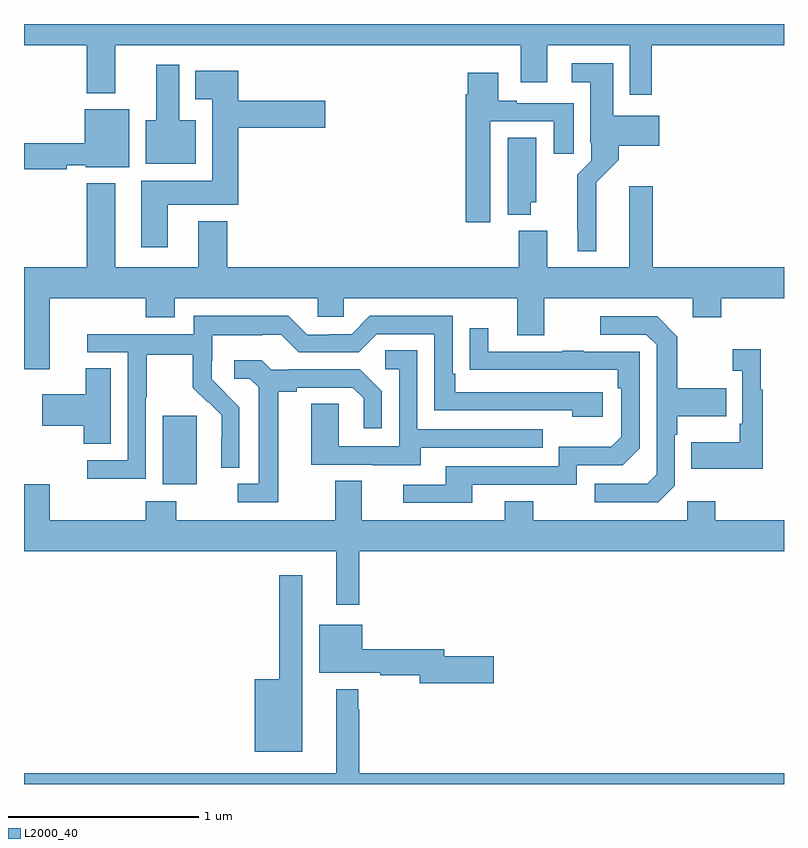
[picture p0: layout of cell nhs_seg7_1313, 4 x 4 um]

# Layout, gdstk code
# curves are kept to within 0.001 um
import gdstk
lib = gdstk.Library(unit=1e-6, precision=1e-09)
def R(c, l, rs):  # rectangles x0, y0, x1, y1
    for r in rs: c.add(gdstk.rectangle(r[:2], r[2:], *l))
def P(c, l, *ps):  # polygons
    for p in ps: c.add(gdstk.Polygon(p, *l))
L2000_40 = (2000, 40)

nhs_seg7_1313 = lib.new_cell('nhs_seg7_1313')
R(nhs_seg7_1313, L2000_40, [(201.731,1059.578,201.91,1059.939)])
P(nhs_seg7_1313, L2000_40, [(204.305,1061.888),(205,1061.888),(205,1062),(201,1062),(201,1061.888),(201.329,1061.888),(201.329,1061.636),(201.481,1061.636),(201.481,1061.888),(203.615,1061.888),(203.615,1061.694),(203.755,1061.694),(203.755,1061.888),(204.189,1061.888),(204.189,1061.628),(204.305,1061.628)],
  [(204.013,1061.168),(204.131,1061.286),(204.131,1061.36),(204.343,1061.36),(204.343,1061.518),(204.1,1061.518),(204.1,1061.794),(203.883,1061.794),(203.883,1061.693),(203.981,1061.693),(203.981,1061.374),(203.985,1061.374),(203.985,1061.28),(203.911,1061.206),(203.911,1060.915),(203.915,1060.915),(203.915,1060.805),(204.013,1060.805)],
  [(201.904,1061.494),(201.817,1061.494),(201.817,1061.785),(201.695,1061.785),(201.695,1061.494),(201.641,1061.494),(201.641,1061.264),(201.904,1061.264)],
  [(201.757,1061.048),(202.127,1061.048),(202.127,1061.453),(202.585,1061.453),(202.585,1061.595),(202.127,1061.595),(202.127,1061.755),(201.902,1061.755),(201.902,1061.603),(201.992,1061.603),(201.992,1061.176),(201.617,1061.176),(201.617,1060.824),(201.757,1060.824)],
  [(203.455,1061.487),(203.789,1061.487),(203.789,1061.316),(203.893,1061.316),(203.893,1061.583),(203.593,1061.583),(203.593,1061.596),(203.497,1061.596),(203.497,1061.743),(203.336,1061.743),(203.336,1061.63),(203.324,1061.63),(203.324,1060.956),(203.455,1060.956)],
  [(201.224,1061.256),(201.324,1061.256),(201.324,1061.246),(201.553,1061.246),(201.553,1061.551),(201.32,1061.551),(201.32,1061.372),(201,1061.372),(201,1061.236),(201.224,1061.236)],
  [(203.668,1061.061),(203.695,1061.061),(203.695,1061.402),(203.546,1061.402),(203.546,1060.997),(203.668,1060.997)],
  [(201.136,1060.556),(201.641,1060.556),(201.641,1060.457),(201.793,1060.457),(201.793,1060.556),(202.545,1060.556),(202.545,1060.458),(202.683,1060.458),(202.683,1060.556),(203.597,1060.556),(203.597,1060.362),(203.737,1060.362),(203.737,1060.556),(204.521,1060.556),(204.521,1060.457),(204.669,1060.457),(204.669,1060.556),(205,1060.556),(205,1060.72),(204.308,1060.72),(204.308,1061.146),(204.185,1061.146),(204.185,1060.72),(203.755,1060.72),(203.755,1060.912),(203.603,1060.912),(203.603,1060.72),(202.07,1060.72),(202.07,1060.963),(201.917,1060.963),(201.917,1060.72),(201.481,1060.72),(201.481,1061.161),(201.329,1061.161),(201.329,1060.72),(201,1060.72),(201,1060.182),(201.136,1060.182)],
  [(201.642,1060.036),(201.645,1060.036),(201.645,1060.26),(201.889,1060.26),(201.889,1060.085),(201.966,1060.008),(201.969,1060.011),(202.04,1059.941),(202.04,1059.818),(202.038,1059.818),(202.038,1059.664),(202.134,1059.664),(202.134,1059.982),(201.988,1060.13),(201.988,1060.227),(201.99,1060.227),(201.99,1060.361),(202.253,1060.361),(202.253,1060.365),(202.353,1060.365),(202.446,1060.272),(202.761,1060.272),(202.857,1060.368),(203.16,1060.368),(203.16,1059.966),(203.885,1059.966),(203.885,1059.932),(204.046,1059.932),(204.046,1060.062),(203.269,1060.062),(203.269,1060.159),(203.256,1060.159),(203.256,1060.464),(202.821,1060.464),(202.725,1060.368),(202.607,1060.368),(202.607,1060.365),(202.491,1060.365),(202.391,1060.465),(201.894,1060.465),(201.894,1060.368),(201.333,1060.368),(201.333,1060.272),(201.546,1060.272),(201.546,1059.705),(201.333,1059.705),(201.333,1059.607),(201.642,1059.607)],
  [(204.426,1059.57),(204.426,1059.839),(204.439,1059.839),(204.439,1059.935),(204.695,1059.935),(204.695,1060.083),(204.439,1060.083),(204.439,1060.355),(204.333,1060.461),(204.033,1060.461),(204.033,1060.365),(204.276,1060.365),(204.33,1060.311),(204.33,1059.63),(204.279,1059.579),(204.003,1059.579),(204.003,1059.483),(204.339,1059.483)],
  [(203.359,1059.576),(203.91,1059.576),(203.91,1059.678),(204.15,1059.678),(204.24,1059.768),(204.24,1060.275),(203.945,1060.275),(203.945,1060.28),(203.833,1060.28),(203.833,1060.275),(203.443,1060.275),(203.443,1060.399),(203.347,1060.399),(203.347,1060.18),(204.124,1060.179),(204.124,1060.082),(204.144,1060.082),(204.144,1059.828),(204.091,1059.775),(203.814,1059.775),(203.814,1059.672),(203.219,1059.672),(203.219,1059.576),(202.995,1059.576),(202.995,1059.48),(203.359,1059.48)],
  [(204.889,1060.075),(204.877,1060.075),(204.877,1060.288),(204.729,1060.288),(204.729,1060.175),(204.78,1060.175),(204.78,1059.895),(204.768,1059.895),(204.768,1059.799),(204.511,1059.799),(204.511,1059.659),(204.889,1059.659)],
  [(203.089,1059.771),(203.729,1059.771),(203.729,1059.867),(203.07,1059.867),(203.07,1060.283),(202.902,1060.283),(202.902,1060.182),(202.974,1060.182),(202.974,1059.777),(202.656,1059.777),(202.656,1060.001),(202.511,1060.001),(202.511,1059.681),(202.835,1059.681),(202.835,1059.677),(203.089,1059.677)],
  [(202.339,1060.064),(202.435,1060.064),(202.435,1060.086),(202.73,1060.086),(202.787,1060.029),(202.787,1059.873),(202.884,1059.873),(202.884,1060.066),(202.768,1060.182),(202.396,1060.182),(202.396,1060.179),(202.302,1060.179),(202.25,1060.231),(202.107,1060.231),(202.107,1060.134),(202.188,1060.134),(202.235,1060.087),(202.235,1059.579),(202.125,1059.579),(202.125,1059.483),(202.339,1059.483)],
  [(201.457,1060.187),(201.326,1060.187),(201.326,1060.051),(201.096,1060.051),(201.096,1059.886),(201.314,1059.886),(201.314,1059.79),(201.457,1059.79)],
  [(202.637,1059.388),(201.801,1059.388),(201.801,1059.487),(201.641,1059.487),(201.641,1059.388),(201.136,1059.388),(201.136,1059.577),(201,1059.577),(201,1059.224),(202.643,1059.224),(202.643,1058.943),(202.765,1058.943),(202.765,1059.224),(205,1059.224),(205,1059.388),(204.639,1059.388),(204.639,1059.487),(204.492,1059.487),(204.492,1059.388),(203.679,1059.388),(203.679,1059.487),(203.531,1059.487),(203.531,1059.388),(202.777,1059.388),(202.777,1059.596),(202.637,1059.596)],
  [(202.465,1059.1),(202.344,1059.1),(202.344,1058.551),(202.214,1058.551),(202.214,1058.171),(202.465,1058.171)],
  [(203.473,1058.672),(203.212,1058.672),(203.212,1058.708),(202.78,1058.708),(202.78,1058.839),(202.553,1058.839),(202.553,1058.585),(202.876,1058.585),(202.876,1058.572),(203.084,1058.572),(203.084,1058.53),(203.473,1058.53)],
  [(205,1058.056),(202.765,1058.056),(202.765,1058.393),(202.758,1058.393),(202.758,1058.5),(202.643,1058.5),(202.643,1058.056),(201,1058.056),(201,1058),(205,1058)])

lib.write_gds('nhs_seg7_1313.gds')
